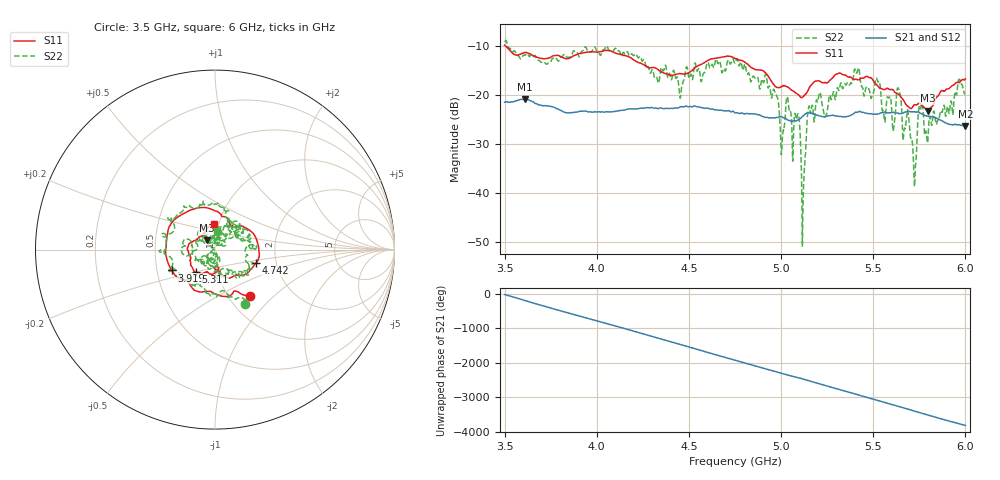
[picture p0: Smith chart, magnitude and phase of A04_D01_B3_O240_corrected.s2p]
! Created with skrf 1.9.0 (http://scikit-rf.org).
# Hz S RI R 50.0
!freq ReS11 ImS11 ReS21 ImS21 ReS12 ImS12 ReS22 ImS22
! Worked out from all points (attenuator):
!   1601 points, 3.5 GHz to 6 GHz, reference 50 ohm
!   highest |S21| = -20.90 dB at 3.609 GHz (marker M1); lowest = -26.4 dB at 6 GHz (marker M2)
!   lowest |S11| = -23.2 dB at 5.795 GHz (marker M3), VSWR 1.15, Z = 45.5 + j4.81 ohm
!   |S11| at or under -10 dB: 3.505 GHz to end of sweep
!   |S22| runs from -50.9 to -8.9 dB; largest |S21 - S12| = 0.0013
!   S11 on the Smith chart (normalised r, x): 3.5 GHz: 1.25, -0.72; 3.919 GHz: 0.60, -0.15; 4.742 GHz: 1.56, -0.25; 5.311 GHz: 0.78, -0.20; 6 GHz: 0.95, +0.28
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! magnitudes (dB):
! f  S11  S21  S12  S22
! 3.5 GHz  -9.8  -21.5  -21.5  -9.2
! 3.609 GHz  -11.3  -20.9  -20.9  -11.9
! 3.917 GHz  -11.5  -23.3  -23.3  -11.1
! 3.919 GHz  -11.5  -23.3  -23.3  -11.1
! 4.334 GHz  -14.9  -22.8  -22.8  -17.6
! 4.742 GHz  -12.4  -23.4  -23.4  -12.8
! 4.75 GHz  -12.5  -23.7  -23.6  -13.5
! 4.969 GHz  -18.3  -24.7  -24.7  -19.8
! 5.006 GHz  -18.2  -24.5  -24.5  -29.3
! 5.036 GHz  -18.4  -25.2  -25.1  -20.6
! 5.088 GHz  -19.8  -25.2  -25.2  -24.3
! 5.12 GHz  -20.4  -24.3  -24.2  -40.5
! 5.145 GHz  -19.2  -23.7  -23.6  -23.4
! 5.167 GHz  -17.8  -23.8  -23.8  -22.3
! 5.311 GHz  -15.6  -24.4  -24.4  -18.9
! 5.584 GHz  -18.8  -23.7  -23.7  -20.6
! 5.611 GHz  -19.1  -23.6  -23.5  -26.8
! 5.641 GHz  -20.0  -23.9  -23.8  -19.3
! 5.723 GHz  -22.0  -23.5  -23.4  -38.8
! 5.756 GHz  -21.8  -23.8  -23.7  -22.9
! 5.795 GHz  -23.2  -24.4  -24.4  -29.7
! 6 GHz  -16.7  -26.4  -26.4  -19.8
